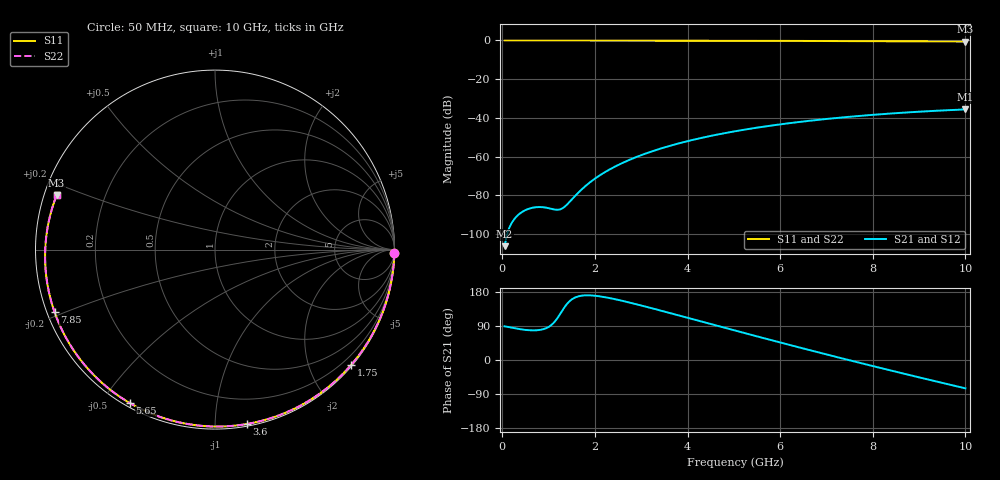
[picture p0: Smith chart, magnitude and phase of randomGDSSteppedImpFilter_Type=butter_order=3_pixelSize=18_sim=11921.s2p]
! freq	dB(S11)	phase(S11)	dB(S12)	phase(S12)
!  dB(S21)	phase(S21)	dB(S22)	phase(S22)
!S-par simulation data
#  GHz  S  DB  R 50
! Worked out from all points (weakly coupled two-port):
!   200 points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, 50 MHz to 10 GHz, reference 50 ohm
!   highest |S21| = -35.62 dB at 10 GHz (marker M1); lowest = -106.3 dB at 50 MHz (marker M2)
!   lowest |S11| = -0.6 dB at 10 GHz (marker M3), VSWR 28.87, Z = 1.78 + j8.33 ohm
!   |S11| at or under -10 dB: nowhere
!   |S22| runs from -0.6 to 0.0 dB; largest |S21 - S12| = 0
!   S11 on the Smith chart (normalised r, x): 50 MHz: open; 1.75 GHz: 0.02, -2.73; 3.6 GHz: 0.01, -1.20; 5.65 GHz: 0.02, -0.59; 7.85 GHz: 0.02, -0.19; 10 GHz: 0.04, +0.17
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0.05  -0.00 -1.1  -106.25 88.9  -106.25 88.9  -0.00 -1.1
0.45  -0.02 -10.5  -88.26 80.2  -88.26 80.2  -0.02 -10.5
0.8  -0.02 -18.6  -86.04 79.2  -86.04 79.2  -0.02 -18.6
1.55  -0.05 -35.8  -80.88 163.5  -80.88 163.5  -0.05 -35.8
1.6  -0.05 -36.9  -79.62 166.3  -79.62 166.3  -0.05 -36.9
1.75  -0.05 -40.3  -76.15 170.3  -76.15 170.3  -0.05 -40.3
1.9  -0.06 -43.6  -73.15 170.6  -73.15 170.6  -0.06 -43.6
2.05  -0.06 -46.9  -70.55 168.9  -70.55 168.9  -0.06 -46.9
2.25  -0.07 -51.3  -67.55 165.0  -67.55 165.0  -0.07 -51.3
2.45  -0.07 -55.6  -64.95 160.1  -64.95 160.1  -0.07 -55.6
2.9  -0.08 -65.2  -60.16 147.0  -60.16 147.0  -0.08 -65.2
3.4  -0.10 -75.6  -55.98 131.1  -55.98 131.1  -0.10 -75.6
3.6  -0.11 -79.7  -54.55 124.6  -54.55 124.6  -0.11 -79.7
4.3  -0.13 -93.6  -50.33 101.6  -50.33 101.6  -0.13 -93.6
5.05  -0.16 -108.0  -46.81 77.0  -46.81 77.0  -0.16 -108.0
5.65  -0.20 -119.1  -44.51 57.5  -44.51 57.5  -0.20 -119.1
6.7  -0.26 -138.1  -41.31 24.1  -41.31 24.1  -0.26 -138.1
7.3  -0.31 -148.8  -39.85 5.4  -39.85 5.4  -0.31 -148.8
7.85  -0.36 -158.7  -38.71 -11.4  -38.71 -11.4  -0.36 -158.7
8.35  -0.41 -167.7  -37.80 -26.5  -37.80 -26.5  -0.41 -167.7
9.2  -0.50 176.6  -36.53 -51.7  -36.53 -51.7  -0.50 176.5
10  -0.60 161.1  -35.62 -74.8  -35.62 -74.8  -0.60 161.0
